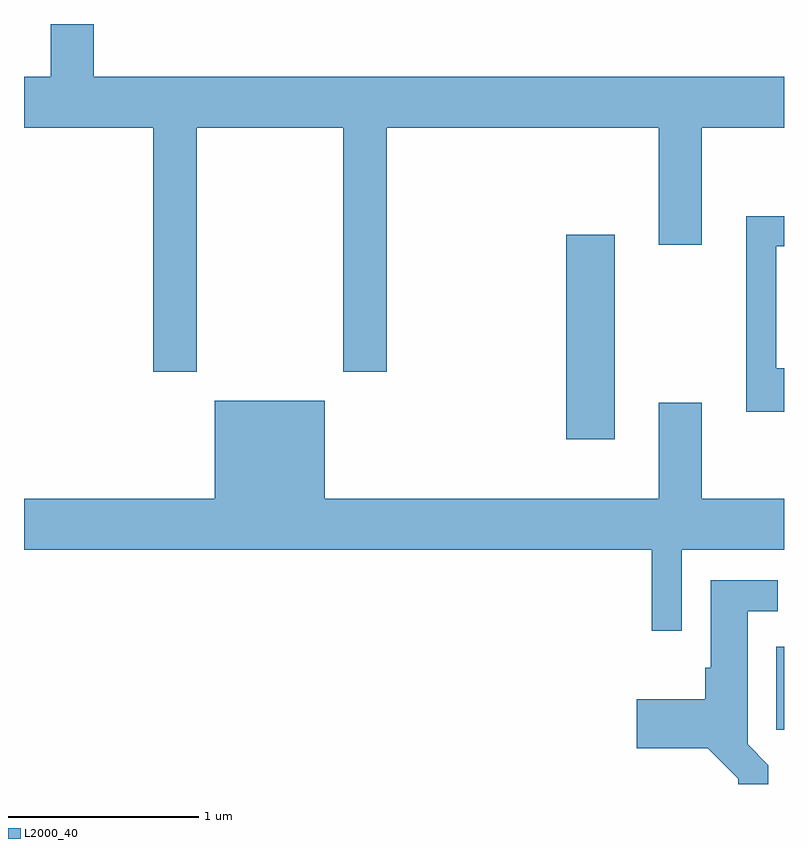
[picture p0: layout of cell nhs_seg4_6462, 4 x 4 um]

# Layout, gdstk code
import gdstk
lib = gdstk.Library(unit=1e-6, precision=1e-09)
def R(c, l, rs):  # rectangles x0, y0, x1, y1
    for r in rs: c.add(gdstk.rectangle(r[:2], r[2:], *l))
def P(c, l, *ps):  # polygons
    for p in ps: c.add(gdstk.Polygon(p, *l))
L2000_40 = (2000, 40)

nhs_seg4_6462 = lib.new_cell('nhs_seg4_6462')
R(nhs_seg4_6462, L2000_40, [(379.571,1258.268,379.611,1258.704), (378.466,1259.796,378.719,1260.874)])
P(nhs_seg4_6462, L2000_40, [(376.519,1261.436),(377.291,1261.436),(377.291,1260.151),(377.519,1260.151),(377.519,1261.436),(378.951,1261.436),(378.951,1260.821),(379.179,1260.821),(379.179,1261.436),(379.611,1261.436),(379.611,1261.704),(375.979,1261.704),(375.979,1261.982),(375.751,1261.982),(375.751,1261.704),(375.611,1261.704),(375.611,1261.436),(376.291,1261.436),(376.291,1260.151),(376.519,1260.151)],
  [(379.611,1260.169),(379.569,1260.169),(379.569,1260.811),(379.611,1260.811),(379.611,1260.969),(379.411,1260.969),(379.411,1259.941),(379.611,1259.941)],
  [(379.074,1259.216),(379.611,1259.216),(379.611,1259.484),(379.179,1259.484),(379.179,1259.989),(378.951,1259.989),(378.951,1259.484),(377.194,1259.484),(377.194,1259.999),(376.616,1259.999),(376.616,1259.484),(375.611,1259.484),(375.611,1259.216),(378.916,1259.216),(378.916,1258.788),(379.074,1258.788)],
  [(379.529,1258.082),(379.419,1258.192),(379.419,1258.891),(379.578,1258.891),(379.578,1259.054),(379.226,1259.054),(379.226,1258.594),(379.196,1258.594),(379.196,1258.429),(378.836,1258.429),(378.836,1258.171),(379.209,1258.171),(379.371,1258.009),(379.371,1257.982),(379.529,1257.982)])

lib.write_gds('nhs_seg4_6462.gds')
